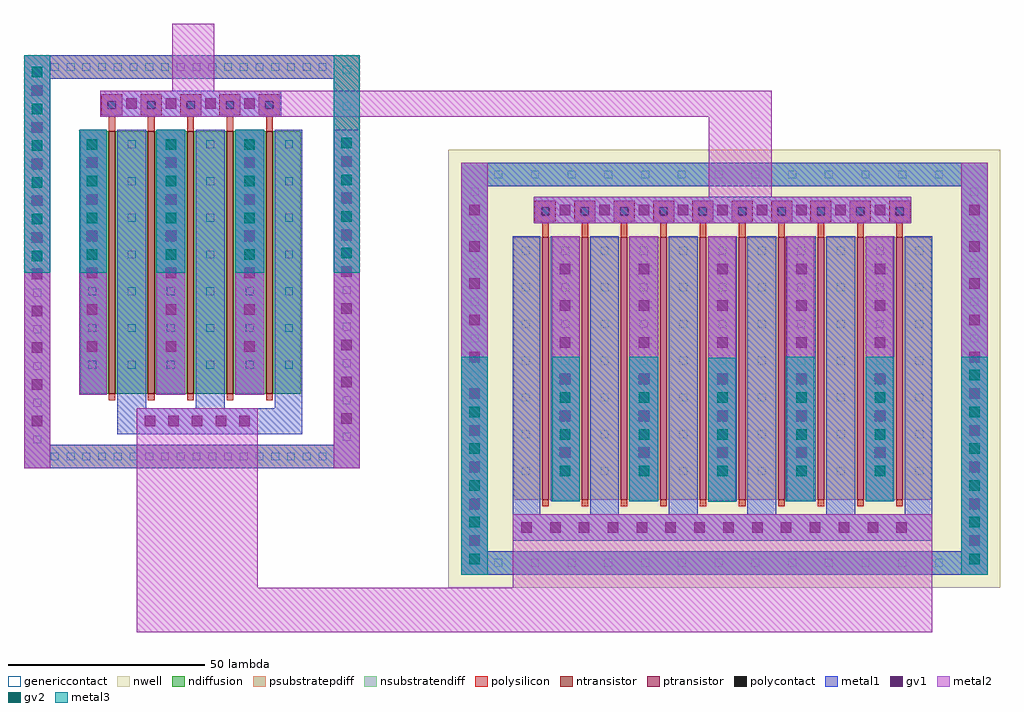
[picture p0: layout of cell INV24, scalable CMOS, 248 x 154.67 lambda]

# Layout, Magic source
magic
tech scmos
magscale 1 6
<< nwell >>
rect 647 -20 1488 648
<< psubstratepdiff >>
rect 0 756 512 792
rect 0 198 40 756
rect 472 198 512 756
rect 0 162 512 198
<< nsubstratendiff >>
rect 667 592 1469 628
rect 667 36 707 592
rect 1429 36 1469 592
rect 667 0 1469 36
<< metal1 >>
rect 0 756 512 792
rect 0 198 40 756
rect 116 698 392 738
rect 142 254 186 274
rect 262 254 306 274
rect 382 254 424 274
rect 142 214 424 254
rect 472 198 512 756
rect 0 162 512 198
rect 667 592 1469 628
rect 667 36 707 592
rect 777 536 1353 576
rect 745 92 787 112
rect 863 92 907 112
rect 983 92 1027 112
rect 1103 92 1147 112
rect 1223 92 1267 112
rect 1343 92 1385 112
rect 745 52 1385 92
rect 1429 36 1469 592
rect 667 0 1469 36
<< metal2 >>
rect 0 162 40 792
rect 226 738 290 840
rect 116 698 1140 738
rect 84 274 126 678
rect 202 274 246 678
rect 322 274 366 678
rect 172 -20 356 254
rect 472 162 512 678
rect 667 0 707 628
rect 1044 576 1140 698
rect 777 536 1353 576
rect 805 112 847 516
rect 923 112 967 516
rect 1043 112 1085 516
rect 1161 112 1205 516
rect 1283 112 1325 516
rect 745 -20 1385 92
rect 1429 0 1469 628
rect 172 -88 1385 -20
<< metal3 >>
rect 0 460 40 792
rect 84 460 126 678
rect 202 460 246 678
rect 322 460 366 678
rect 472 460 512 792
rect 667 0 707 332
rect 805 112 847 332
rect 923 112 967 332
rect 1043 111 1085 331
rect 1161 112 1205 332
rect 1283 112 1325 332
rect 1429 0 1469 332
use CONT  CONT_0
array 0 17 24 0 0 0
transform 1 0 47 0 1 774
box -6 -6 6 6
use CONT  CONT_1
array 0 0 0 0 10 56
transform 1 0 492 0 1 210
box -6 -6 6 6
use CONT  CONT_2
array 0 0 0 0 10 56
transform 1 0 687 0 1 24
box -6 -6 6 6
use CONT  CONT_3
array 0 0 0 0 10 56
transform 1 0 20 0 1 206
box -6 -6 6 6
use CONT  CONT_4
array 0 0 0 0 10 56
transform 1 0 1449 0 1 24
box -6 -6 6 6
use CONT  CONT_5
array 0 17 24 0 0 0
transform 1 0 47 0 1 180
box -6 -6 6 6
use CONT  CONT_6
array 0 12 56 0 0 0
transform 1 0 723 0 1 610
box -6 -6 6 6
use CONT  CONT_7
array 0 12 56 0 0 0
transform 1 0 723 0 1 18
box -6 -6 6 6
use NCELL1  NCELL1_0
array 0 4 60 0 0 0
transform -1 0 422 0 -1 676
box -2 -58 98 410
use PCELL1  PCELL1_0
array 0 9 60 0 0 0
transform -1 0 1383 0 -1 514
box -2 -58 98 410
use VIA1  VIA1_0
array 0 0 0 0 9 56
transform 1 0 1449 0 1 52
box -8 -8 8 8
use VIA1  VIA1_1
array 0 13 44 0 0 0
transform 1 0 766 0 1 72
box -8 -8 8 8
use VIA1  VIA1_2
array 0 4 36 0 0 0
transform 1 0 192 0 1 234
box -8 -8 8 8
use VIA1  VIA1_3
array 0 0 0 0 7 56
transform 1 0 492 0 1 238
box -8 -8 8 8
use VIA1  VIA1_4
array 0 2 120 0 5 56
transform 1 0 104 0 1 348
box -8 -8 8 8
use VIA1  VIA1_5
array 0 8 60 0 0 0
transform 1 0 825 0 1 556
box -8 -8 8 8
use VIA1  VIA1_6
array 0 3 60 0 0 0
transform 1 0 164 0 1 718
box -8 -8 8 8
use VIA1  VIA1_7
array 0 4 120 0 5 56
transform 1 0 825 0 1 186
box -8 -8 8 8
use VIA1  VIA1_8
array 0 0 0 0 9 56
transform 1 0 20 0 1 234
box -8 -8 8 8
use VIA1  VIA1_9
array 0 0 0 0 9 56
transform 1 0 687 0 1 52
box -8 -8 8 8
use VIA2  VIA2_0
array 0 0 0 0 5 56
transform 1 0 1449 0 1 24
box -8 -8 8 8
use VIA2  VIA2_1
array 0 0 0 0 4 56
transform 1 0 687 0 1 24
box -8 -8 8 8
use VIA2  VIA2_2
array 0 2 120 0 3 56
transform 1 0 104 0 1 488
box -8 -8 8 8
use VIA2  VIA2_3
array 0 4 120 0 2 56
transform 1 0 825 0 1 158
box -8 -8 8 8
use VIA2  VIA2_4
array 0 0 0 0 3 56
transform 1 0 492 0 1 490
box -8 -8 8 8
use VIA2  VIA2_5
array 0 0 0 0 5 56
transform 1 0 20 0 1 486
box -8 -8 8 8
<< end >>

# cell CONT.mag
magic
tech scmos
<< genericcontact >>
rect -1 -1 1 1
<< end >>

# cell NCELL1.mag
magic
tech scmos
magscale 1 6
<< ntransistor >>
rect 43 0 53 400
<< ndiffusion >>
rect 0 0 43 400
rect 53 0 96 400
<< polysilicon >>
rect 43 400 53 410
rect 43 -24 53 0
<< metal1 >>
rect -2 -2 40 402
rect 56 -2 98 402
use CONT  CONT_0
array 0 0 0 0 6 56
transform 1 0 78 0 1 20
box -6 -6 6 6
use CONT  CONT_1
array 0 0 0 0 6 56
transform 1 0 18 0 1 20
box -6 -6 6 6
use poly1cont_CDNS_704676826053  poly1cont_CDNS_704676826053_0
transform -1 0 66 0 -1 -22
box 0 0 36 36
<< end >>

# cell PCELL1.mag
magic
tech scmos
magscale 1 6
<< ptransistor >>
rect 43 0 53 400
<< psubstratepdiff >>
rect 0 0 43 400
rect 53 0 96 400
<< polysilicon >>
rect 43 400 53 410
rect 43 -24 53 0
<< metal1 >>
rect -2 -2 40 402
rect 56 -2 98 402
use CONT  CONT_0
array 0 0 0 0 6 56
transform 1 0 78 0 1 20
box -6 -6 6 6
use CONT  CONT_1
array 0 0 0 0 6 56
transform 1 0 18 0 1 20
box -6 -6 6 6
use poly1cont_CDNS_704676826053  poly1cont_CDNS_704676826053_0
transform -1 0 66 0 -1 -22
box 0 0 36 36
<< end >>

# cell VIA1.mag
magic
tech scmos
magscale 1 3
<< gv1 >>
rect -4 -4 4 4
<< end >>

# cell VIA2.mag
magic
tech scmos
magscale 1 3
<< gv2 >>
rect -4 -4 4 4
<< end >>

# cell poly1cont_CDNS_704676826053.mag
magic
tech scmos
magscale 1 3
<< polysilicon >>
rect 1 12 17 17
rect 1 6 6 12
rect 12 6 17 12
rect 1 1 17 6
<< polycontact >>
rect 6 6 12 12
<< genericcontact >>
rect 6 6 12 12
<< metal1 >>
rect 0 12 18 18
rect 0 6 6 12
rect 12 6 18 12
rect 0 0 18 6
<< end >>
